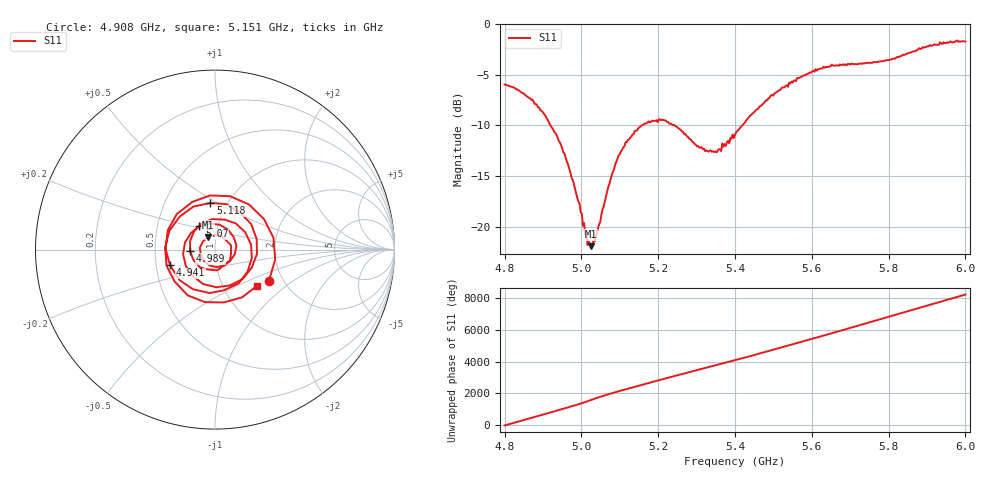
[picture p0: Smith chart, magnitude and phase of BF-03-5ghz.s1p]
! NanoVNA-App
! Date: 2026-05-22 18:11:13
! Start: 4.8GHz Stop: 6GHz Points: 401
! S-Parameter data: F S11
# Hz S RI R 50
!  Frequency  S11_Real  S11_Imag
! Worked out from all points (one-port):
!   401 points, 4.8 GHz to 6 GHz, reference 50 ohm
!   lowest |S11| = -21.9 dB at 5.025 GHz (marker M1), VSWR 1.17, Z = 45.8 + j6.42 ohm
!   |S11| at or under -10 dB: 4.919 GHz to 5.158 GHz (238.4 MHz wide, 4.73 % of centre); 5.243 GHz to 5.419 GHz (176.1 MHz wide, 3.3 % of centre)
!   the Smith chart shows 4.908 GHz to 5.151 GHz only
!   S11 on the Smith chart (normalised r, x): 4.908 GHz: 1.69, -0.67; 4.941 GHz: 0.59, -0.11; 4.989 GHz: 0.76, -0.01; 5.07 GHz: 0.81, +0.22; 5.118 GHz: 0.83, +0.46; 5.151 GHz: 1.45, -0.64
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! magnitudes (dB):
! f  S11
! 4.8 GHz  -6.0
! 4.869 GHz  -7.5
! 4.908 GHz  -9.2
! 4.941 GHz  -11.5
! 4.95 GHz  -12.3
! 4.989 GHz  -17.1
! 5.01 GHz  -20.8
! 5.022 GHz  -21.7
! 5.025 GHz  -21.9
! 5.04 GHz  -20.6
! 5.07 GHz  -16.1
! 5.1 GHz  -12.8
! 5.118 GHz  -11.7
! 5.151 GHz  -10.2
! 5.208 GHz  -9.5
! 5.25 GHz  -10.2
! 5.301 GHz  -12.1
! 5.328 GHz  -12.5
! 5.358 GHz  -12.4
! 5.4 GHz  -10.9
! 5.49 GHz  -7.3
! 5.55 GHz  -5.8
! 5.625 GHz  -4.4
! 5.7 GHz  -4.0
! 5.802 GHz  -3.5
! 5.85 GHz  -2.9
! 5.94 GHz  -2.0
! 6 GHz  -1.7
